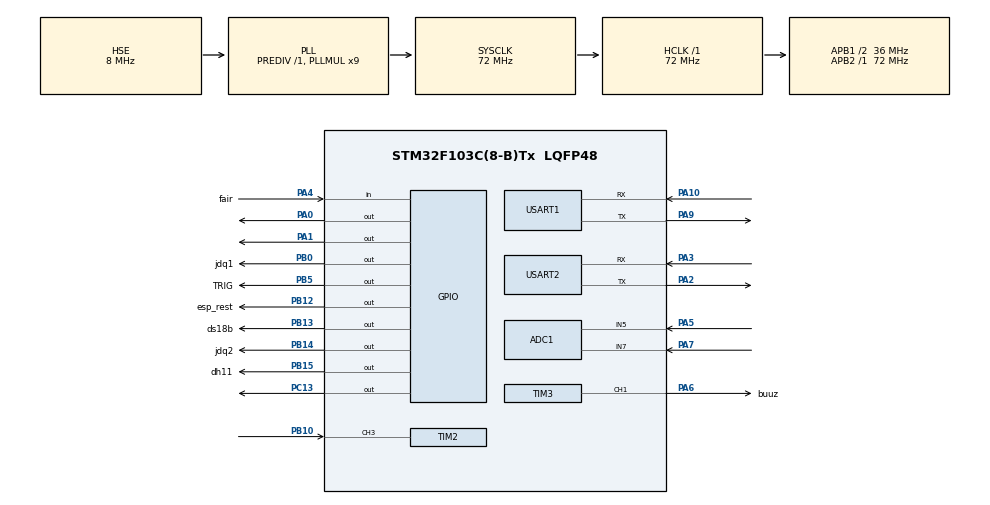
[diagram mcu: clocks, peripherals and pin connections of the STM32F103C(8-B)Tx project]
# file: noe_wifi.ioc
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ADC1.Channel-0\#ChannelRegularConversion=ADC_CHANNEL_5
ADC1.Channel-1\#ChannelRegularConversion=ADC_CHANNEL_7
ADC1.ContinuousConvMode=ENABLE
ADC1.NbrOfConversion=2
ADC1.NbrOfConversionFlag=1
ADC1.Rank-0\#ChannelRegularConversion=1
ADC1.Rank-1\#ChannelRegularConversion=2
ADC1.SamplingTime-0\#ChannelRegularConversion=ADC_SAMPLETIME_28CYCLES_5
ADC1.SamplingTime-1\#ChannelRegularConversion=ADC_SAMPLETIME_28CYCLES_5
ADC1.master=1
Dma.ADC1.0.Direction=DMA_PERIPH_TO_MEMORY
Dma.ADC1.0.Instance=DMA1_Channel1
Dma.ADC1.0.MemDataAlignment=DMA_MDATAALIGN_HALFWORD
Dma.ADC1.0.MemInc=DMA_MINC_ENABLE
Dma.ADC1.0.Mode=DMA_CIRCULAR
Dma.ADC1.0.PeriphDataAlignment=DMA_PDATAALIGN_HALFWORD
Dma.ADC1.0.PeriphInc=DMA_PINC_DISABLE
Dma.ADC1.0.Priority=DMA_PRIORITY_LOW
Dma.Request0=ADC1
Mcu.Family=STM32F1
Mcu.Name=STM32F103C(8-B)Tx
Mcu.Package=LQFP48
NVIC.DMA1_Channel1_IRQn=true\:0\:0\:false\:false\:true\:false\:true\:true
NVIC.PriorityGroup=NVIC_PRIORITYGROUP_4
NVIC.TIM2_IRQn=true\:0\:0\:false\:false\:true\:true\:true\:true
NVIC.TIM3_IRQn=true\:0\:0\:false\:false\:true\:true\:true\:true
NVIC.TIM4_IRQn=true\:0\:0\:false\:false\:true\:true\:true\:true
NVIC.USART1_IRQn=true\:0\:0\:false\:false\:true\:true\:true\:true
NVIC.USART2_IRQn=true\:0\:0\:false\:false\:true\:true\:true\:true
PA0-WKUP.GPIO_PuPd=GPIO_PULLUP
PA0-WKUP.GPIO_Speed=GPIO_SPEED_FREQ_HIGH
PA0-WKUP.Signal=GPIO_Output
PA1.GPIO_PuPd=GPIO_PULLUP
PA1.Signal=GPIO_Output
PA10.Mode=Asynchronous
PA10.Signal=USART1_RX
PA13.Mode=Serial_Wire
PA13.Signal=SYS_JTMS-SWDIO
PA14.Mode=Serial_Wire
PA14.Signal=SYS_JTCK-SWCLK
PA2.Mode=Asynchronous
PA2.Signal=USART2_TX
PA3.Mode=Asynchronous
PA3.Signal=USART2_RX
PA4.GPIO_Label=fair
PA4.Signal=GPIO_Input
PA5.Signal=ADCx_IN5
PA6.GPIO_Label=buuz
PA6.Signal=S_TIM3_CH1
PA7.Signal=ADCx_IN7
PA9.Mode=Asynchronous
PA9.Signal=USART1_TX
PB0.GPIO_Label=jdq1
PB0.GPIO_ModeDefaultOutputPP=GPIO_MODE_OUTPUT_OD
PB0.GPIO_PuPd=GPIO_NOPULL
PB0.PinState=GPIO_PIN_SET
PB0.Signal=GPIO_Output
PB10.Signal=S_TIM2_CH3
PB12.GPIO_Label=esp_rest
PB12.Signal=GPIO_Output
PB13.GPIO_Label=ds18b
PB13.Signal=GPIO_Output
PB14.GPIO_Label=jdq2
PB14.Signal=GPIO_Output
PB15.GPIO_Label=dh11
PB15.Signal=GPIO_Output
PB5.GPIO_Label=TRIG
PB5.Signal=GPIO_Output
PC13-TAMPER-RTC.GPIO_ModeDefaultOutputPP=GPIO_MODE_OUTPUT_OD
PC13-TAMPER-RTC.GPIO_PuPd=GPIO_NOPULL
PC13-TAMPER-RTC.GPIO_Speed=GPIO_SPEED_FREQ_HIGH
PC13-TAMPER-RTC.PinState=GPIO_PIN_RESET
PC13-TAMPER-RTC.Signal=GPIO_Output
PC14-OSC32_IN.Mode=LSE-External-Oscillator
PC14-OSC32_IN.Signal=RCC_OSC32_IN
PC15-OSC32_OUT.Mode=LSE-External-Oscillator
PC15-OSC32_OUT.Signal=RCC_OSC32_OUT
PD0-OSC_IN.Mode=HSE-External-Oscillator
PD0-OSC_IN.Signal=RCC_OSC_IN
PD1-OSC_OUT.Mode=HSE-External-Oscillator
PD1-OSC_OUT.Signal=RCC_OSC_OUT
ProjectManager.HeapSize=0x200
ProjectManager.StackSize=0x400
ProjectManager.TargetToolchain=MDK-ARM V5.32
RCC.ADCPresc=RCC_ADCPCLK2_DIV6
RCC.AHBFreq_Value=72000000
RCC.APB1CLKDivider=RCC_HCLK_DIV2
RCC.APB1Freq_Value=36000000
RCC.APB1TimFreq_Value=72000000
RCC.APB2Freq_Value=72000000
RCC.APB2TimFreq_Value=72000000
RCC.HCLKFreq_Value=72000000
RCC.PLLMUL=RCC_PLL_MUL9
RCC.PLLSourceVirtual=RCC_PLLSOURCE_HSE
RCC.SYSCLKFreq_VALUE=72000000
RCC.SYSCLKSource=RCC_SYSCLKSOURCE_PLLCLK
RCC.USBFreq_Value=72000000
SH.ADCx_IN5.0=ADC1_IN5,IN5
SH.ADCx_IN7.0=ADC1_IN7,IN7
SH.S_TIM2_CH3.0=TIM2_CH3,Input_Capture3_from_TI3
SH.S_TIM3_CH1.0=TIM3_CH1,PWM Generation1 CH1
TIM2.Channel-Input_Capture3_from_TI3=TIM_CHANNEL_3
TIM2.Channel-Input_Capture4_from_TI3_63=TIM_CHANNEL_4
TIM2.ICPolarity_CH4=TIM_INPUTCHANNELPOLARITY_FALLING
TIM2.Prescaler=71
TIM3.Channel-PWM\ Generation1\ CH1=TIM_CHANNEL_1
TIM3.Period=4499
TIM3.Prescaler=8
TIM4.AutoReloadPreload=TIM_AUTORELOAD_PRELOAD_ENABLE
TIM4.Period=50000-1
TIM4.Prescaler=7199
USART1.VirtualMode=VM_ASYNC
USART2.VirtualMode=VM_ASYNC
VP_TIM2_VS_ClockSourceINT.Mode=Internal
VP_TIM2_VS_indirect_ch3.Mode=Input_Capture4_from_TI3_63
VP_TIM3_VS_ClockSourceINT.Mode=Internal
VP_TIM4_VS_ClockSourceINT.Mode=Internal
board=custom

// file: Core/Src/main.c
/* USER CODE BEGIN Header */
/**
  ******************************************************************************
  * @file           : main.c
  * @brief          : Main program body
  ******************************************************************************
  * @attention
  *
  * Copyright (c) 2026 STMicroelectronics.
  * All rights reserved.
  *
  * This software is licensed under terms that can be found in the LICENSE file
  * in the root directory of this software component.
  * If no LICENSE file comes with this software, it is provided AS-IS.
  *
  ******************************************************************************
  */
/* USER CODE END Header */
#include "main.h"
#include "adc.h"
#include "dma.h"
#include "tim.h"
#include "usart.h"
#include "gpio.h"

/* USER CODE BEGIN Includes */
#include <string.h>
#include <stdio.h>
#include "esp8266.h"
#include "DS18B20.h"
#include "dht11.h"
#include "buzzer.h"
#include "mq_gas_sensor.h"
#include "thermistor.h"
/* USER CODE END Includes */

/* USER CODE BEGIN PD */
		uint16_t rising_cnt ;  // 上升沿、下降沿数值
		uint16_t falling_cnt ;
		float distance;
		// 定义定时周期（示例：1000ms = 1秒发送一次，可根据需求修改）
	#define MQTT_SEND_PERIOD_MS  5000
	// 记录上一次发送MQTT数据的时间戳（静态变量，仅在当前作用域有效，值会持续保存）
	static uint32_t g_last_mqtt_send_tick = 0;
/* USER CODE END PD */

void SystemClock_Config(void);

/* USER CODE BEGIN 0 */
void HAL_TIM_PeriodElapsedCallback(TIM_HandleTypeDef *htim)
{
	HAL_GPIO_TogglePin(GPIOC, GPIO_PIN_13);

		if (htim == &htim4)
   				ESP8266_AT_MQTT_Publish_Raw
				(g_OneNET_Property_Data.Alarm,g_OneNET_Property_Data.led,(uint8_t)&distance);

}
/* USER CODE END 0 */

int main(void)
{

  /* MCU Configuration--------------------------------------------------------*/

  /* Reset of all peripherals, Initializes the Flash interface and the Systick. */
  HAL_Init();

  /* Configure the system clock */
  SystemClock_Config();

  /* Initialize all configured peripherals */
  MX_GPIO_Init();
  MX_DMA_Init();
  MX_USART1_UART_Init();
  MX_USART2_UART_Init();
  MX_TIM3_Init();
  MX_ADC1_Init();
  MX_TIM2_Init();
  MX_TIM4_Init();
  /* USER CODE BEGIN 2 */
		rising_cnt = 0;
		falling_cnt = 0;
		Buzzer_TIM3_Init();

		HAL_ADCEx_Calibration_Start(&hadc1);
		uint16_t Joystick_ADC[2];
		HAL_ADC_Start_DMA(&hadc1,(uint32_t*)&Joystick_ADC,2);

		GasConcentration_t gas_result;

		//ESP8266_Get_LinkStatus();
		//ESP8266_ExitUnvarnishSend();

		ESP8266_Init();
		ESP8266_Aithinker_MQTT_Example();
		ESP8266_MQTT_Subscribe_OneNET();
		ESP8266_MQTT_Subscribe_OneNET_Repaly();
		ESP8266_Bind_OneNET_Report_Topic_With_Cmd();

		//ESP8266_Enter_Transparent_Mode();

		//SR04_trig();
		 //SR04_Init();
			 g_last_mqtt_send_tick = HAL_GetTick();

		//ESP8266_Link_Server(NET_PROTOCOL_MQTT,"mqtts.heclouds.com","1883",ID_NO_SINGLE);
  /* USER CODE END 2 */

  /* Infinite loop */
  /* USER CODE BEGIN WHILE */
  while (1)
  {

					//SR04_trig();
					//UART2_Debug_Print("%.2f",distance);

		if(g_OneNET_Property_Data.led==1)
		HAL_GPIO_WritePin(GPIOB, GPIO_PIN_0, GPIO_PIN_RESET);
		if(g_OneNET_Property_Data.led==0)
		HAL_GPIO_WritePin(GPIOB, GPIO_PIN_0, GPIO_PIN_SET);

		if(g_OneNET_Property_Data.Alarm==1)
		Buzzer_On();
		if(g_OneNET_Property_Data.Alarm==0)
		Buzzer_Off();

				gas_result = Calculate_Gas_Concentration(Joystick_ADC);
				main_loop_task();
				//UART2_Debug_Print("CO: %.4f%%/ H2:%.4f%%",
        //gas_result.co_concentration / 10000.0f,
         //gas_result.h2_concentration / 10000.0f);

				uint32_t current_tick = HAL_GetTick(); // 获取当前系统节拍时间戳
		        // 判断：当前时间 - 上一次发送时间 >= 设定定时周期（非阻塞，无延时）
        if ((current_tick - g_last_mqtt_send_tick) >= MQTT_SEND_PERIOD_MS)
        {
            // 执行MQTT数据发送
            ESP8266_AT_MQTT_Publish_Raw(
                g_OneNET_Property_Data.Alarm,
                g_OneNET_Property_Data.led,
                (uint8_t)&distance
            );

            // 更新上一次发送时间戳（关键：确保下一次定时从当前时间开始计算）
            g_last_mqtt_send_tick = current_tick;
        }
    /* USER CODE END WHILE */

  }
}

void SystemClock_Config(void)
{
  RCC_OscInitTypeDef RCC_OscInitStruct = {0};
  RCC_ClkInitTypeDef RCC_ClkInitStruct = {0};
  RCC_PeriphCLKInitTypeDef PeriphClkInit = {0};

  /** Initializes the RCC Oscillators according to the specified parameters
  * in the RCC_OscInitTypeDef structure.
  */
  RCC_OscInitStruct.OscillatorType = RCC_OSCILLATORTYPE_HSE;
  RCC_OscInitStruct.HSEState = RCC_HSE_ON;
  RCC_OscInitStruct.HSEPredivValue = RCC_HSE_PREDIV_DIV1;
  RCC_OscInitStruct.HSIState = RCC_HSI_ON;
  RCC_OscInitStruct.PLL.PLLState = RCC_PLL_ON;
  RCC_OscInitStruct.PLL.PLLSource = RCC_PLLSOURCE_HSE;
  RCC_OscInitStruct.PLL.PLLMUL = RCC_PLL_MUL9;
  if (HAL_RCC_OscConfig(&RCC_OscInitStruct) != HAL_OK)
  {
    Error_Handler();
  }

  /** Initializes the CPU, AHB and APB buses clocks
  */
  RCC_ClkInitStruct.ClockType = RCC_CLOCKTYPE_HCLK|RCC_CLOCKTYPE_SYSCLK
                              |RCC_CLOCKTYPE_PCLK1|RCC_CLOCKTYPE_PCLK2;
  RCC_ClkInitStruct.SYSCLKSource = RCC_SYSCLKSOURCE_PLLCLK;
  RCC_ClkInitStruct.AHBCLKDivider = RCC_SYSCLK_DIV1;
  RCC_ClkInitStruct.APB1CLKDivider = RCC_HCLK_DIV2;
  RCC_ClkInitStruct.APB2CLKDivider = RCC_HCLK_DIV1;

  if (HAL_RCC_ClockConfig(&RCC_ClkInitStruct, FLASH_LATENCY_2) != HAL_OK)
  {
    Error_Handler();
  }
  PeriphClkInit.PeriphClockSelection = RCC_PERIPHCLK_ADC;
  PeriphClkInit.AdcClockSelection = RCC_ADCPCLK2_DIV6;
  if (HAL_RCCEx_PeriphCLKConfig(&PeriphClkInit) != HAL_OK)
  {
    Error_Handler();
  }
}

/* USER CODE BEGIN 4 */

void HAL_TIM_IC_CaptureCallback(TIM_HandleTypeDef *htim)
{
  if (htim == &htim2 && htim->Channel == HAL_TIM_ACTIVE_CHANNEL_4)
  {

      rising_cnt = HAL_TIM_ReadCapturedValue(htim, TIM_CHANNEL_3);
      falling_cnt = HAL_TIM_ReadCapturedValue(htim, TIM_CHANNEL_4);
			distance = (falling_cnt - rising_cnt) * 0.017;
	}

}

/* USER CODE END 4 */

void Error_Handler(void)
{
  __disable_irq();
  while (1)
  {
  }
}
